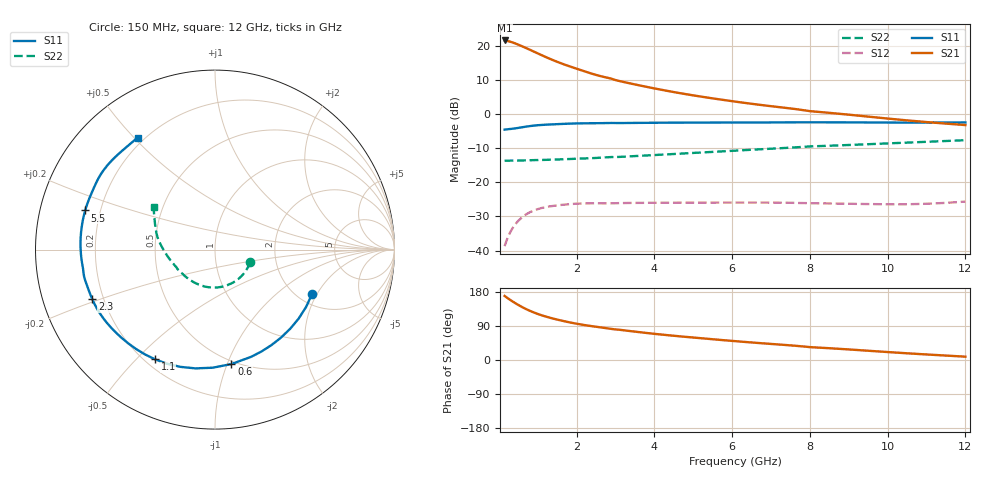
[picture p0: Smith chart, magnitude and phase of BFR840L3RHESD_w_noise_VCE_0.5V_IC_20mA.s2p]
! Infineon Technologies  Discrete & RF Semiconductors
! BFR840L3RHESD
! VCE =  0.5 V,  IC =  20 mA
! Common Emitter S-Parameters:  Jun 2012
# GHz  S  MA  R  50
!  f  S11  S21  S12  S22
! GHz  MAG  ANG  MAG  ANG  MAG  ANG  MAG  ANG
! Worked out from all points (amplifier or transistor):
!   91 points, 150 MHz to 12 GHz, reference 50 ohm
!   highest |S21| = 21.7 dB at 150 MHz (marker M1)
!   |S21| within 3 dB of that: start of sweep to 850.9 MHz
!   unconditionally stable (mu >= 1): start of sweep to 540.8 MHz; 2.118 GHz to end of sweep
!   at 1.3 GHz: K = 0.83, MSG = 21.7 dB, |S12| = -27.1 dB
!   at 4.3 GHz: K = 1.81, MAG = 11.2 dB, |S12| = -26.0 dB
!   at 12 GHz: K = 5.02, MAG = 1.3 dB, |S12| = -25.6 dB
!   lowest NFmin = 1.09 dB at 450 MHz
!   S11 on the Smith chart (normalised r, x): 150 MHz: 2.39, -1.81; 600 MHz: 0.48, -1.04; 1.1 GHz: 0.24, -0.57; 2.3 GHz: 0.16, -0.19; 5.5 GHz: 0.14, +0.14; 12 GHz: 0.17, +0.51
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0.15  0.5945 -24.4  12.1 169.0  0.0116 43.3  0.2077 -19.8
0.25  0.604 -39.4  11.79 161.7  0.0165 50.4  0.2086 -33.3
0.35  0.6129 -53.1  11.33 154.8  0.0211 50.2  0.2089 -45.5
0.5  0.6304 -71.3  10.51 145.4  0.0273 46.5  0.2094 -61.7
0.6  0.6442 -81.8  9.939 139.7  0.0308 43.6  0.21 -71.3
0.7  0.6581 -91.1  9.376 134.5  0.0339 40.8  0.2108 -79.9
0.8  0.6707 -99.3  8.833 129.8  0.0365 38.2  0.2116 -87.7
1  0.6899 -112.9  7.826 121.6  0.0405 33.6  0.2129 -100.8
1.1  0.6967 -118.7  7.369 118.1  0.0421 31.6  0.2136 -106.3
1.3  0.7071 -128.4  6.559 112.0  0.0444 28.0  0.215 -115.7
1.6  0.7198 -139.8  5.598 104.3  0.0467 23.8  0.2179 -126.6
1.9  0.7307 -148.6  4.872 97.7  0.0483 20.8  0.2214 -134.8
2.2  0.7366 -155.9  4.275 92.3  0.0492 18.9  0.2246 -141.5
2.3  0.7375 -158.0  4.096 90.7  0.0493 18.3  0.2258 -143.4
2.8  0.7433 -166.7  3.429 83.4  0.0493 14.9  0.234 -151.2
3.1  0.7428 -171.6  3.074 79.8  0.0497 14.1  0.2367 -155.6
4.2  0.7512 175.3  2.277 67.0  0.0503 11.7  0.2556 -166.8
5.5  0.7555 163.2  1.71 54.8  0.0505 11.2  0.2804 -177.5
6.1  0.7559 158.4  1.528 49.6  0.0506 10.7  0.2928 178.2
8.5  0.7615 142.0  1.049 31.1  0.0491 11.4  0.3452 162.2
10.5  0.7548 131.1  0.813 17.7  0.0478 16.9  0.3837 151.8
12  0.7583 124.6  0.694 8.8  0.0523 22.7  0.4163 145.1
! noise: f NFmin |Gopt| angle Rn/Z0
0.45  1.09  0.06  16  0.16
0.9  1.12  0.07  29  0.15
1.9  1.15  0.1  55  0.14
3.5  1.14  0.12  79  0.13
4  1.15  0.14  86  0.13
5.5  1.17  0.17  104  0.12
7  1.23  0.19  122  0.12
8  1.28  0.19  133  0.12
10  1.37  0.19  157  0.12
12  1.49  0.21  -170  0.12
